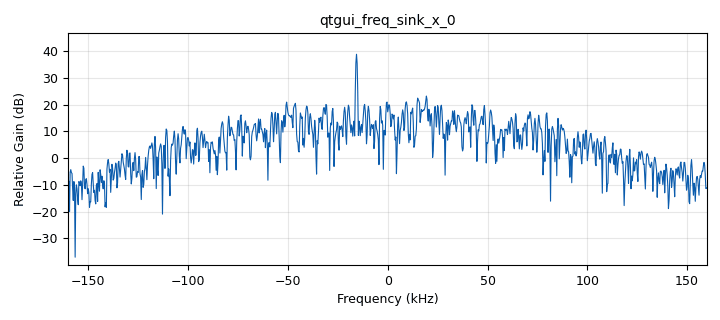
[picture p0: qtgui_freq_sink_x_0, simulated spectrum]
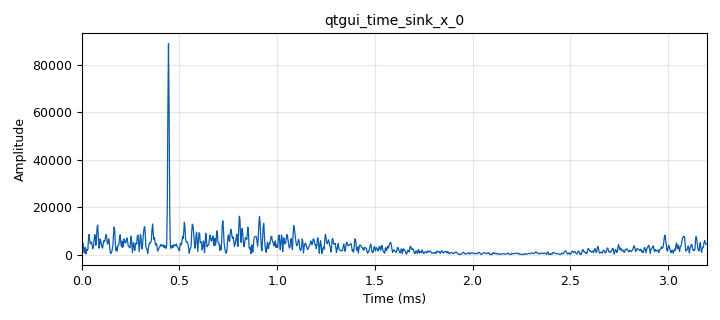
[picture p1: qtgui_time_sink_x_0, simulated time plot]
options:
  parameters:
    author: emmanuelkwakyenyantakyi
    generate_options: qt_gui
    id: cross_corr_signal_delayed_copy_4_2
    output_language: python
    title: Cross-correlation between signal and its delayed copy
  states: {}

blocks:
- name: D
  id: variable_qtgui_range
  parameters:
    start: '0'
    step: '1'
    stop: '100'
    value: '50'
  states: {}
- name: N
  id: variable
  parameters:
    value: '1024'
  states: {}
- name: samp_rate
  id: variable
  parameters:
    value: '320000'
  states: {}
- name: analog_noise_source_x_0
  id: analog_noise_source_x
  parameters:
    amp: '1'
    noise_type: analog.GR_GAUSSIAN
    seed: '0'
    type: complex
  states: {}
- name: blocks_complex_to_mag_0
  id: blocks_complex_to_mag
  parameters:
    vlen: N
  states: {}
- name: blocks_delay_0
  id: blocks_delay
  parameters:
    delay: D
    type: complex
  states: {}
- name: blocks_multiply_conjugate_cc_0
  id: blocks_multiply_conjugate_cc
  parameters:
    vlen: N
  states: {}
- name: blocks_stream_to_vector_0
  id: blocks_stream_to_vector
  parameters:
    num_items: N
    type: complex
  states: {}
- name: blocks_stream_to_vector_1
  id: blocks_stream_to_vector
  parameters:
    num_items: N
    type: complex
  states: {}
- name: blocks_throttle2_0
  id: blocks_throttle2
  parameters:
    samples_per_second: samp_rate
    type: complex
  states: {}
- name: blocks_vector_to_stream_0
  id: blocks_vector_to_stream
  parameters:
    num_items: N
    type: complex
  states: {}
- name: blocks_vector_to_stream_2
  id: blocks_vector_to_stream
  parameters:
    num_items: N
    type: float
  states: {}
- name: fft_vxx_0
  id: fft_vxx
  parameters:
    fft_size: '1024'
    forward: 'False'
    shift: 'True'
    type: complex
    window: window.blackmanharris(1024)
  states: {}
- name: fft_vxx_1
  id: fft_vxx
  parameters:
    fft_size: '1024'
    forward: 'False'
    shift: 'True'
    type: complex
    window: window.blackmanharris(1024)
  states: {}
- name: fft_vxx_1_0
  id: fft_vxx
  parameters:
    fft_size: '1024'
    forward: 'True'
    shift: 'True'
    type: complex
    window: window.blackmanharris(1024)
  states: {}
- name: qtgui_freq_sink_x_0
  id: qtgui_freq_sink_x
  parameters:
    autoscale: 'True'
    bw: samp_rate
    fc: '0'
    fftsize: '1024'
    type: complex
  states: {}
- name: qtgui_time_sink_x_0
  id: qtgui_time_sink_x
  parameters:
    autoscale: 'True'
    size: '1024'
    srate: samp_rate
    type: float
  states: {}
- name: qtgui_waterfall_sink_x_0
  id: qtgui_waterfall_sink_x
  parameters:
    bw: samp_rate
    fc: '0'
    fftsize: '1024'
    type: complex
  states: {state: disabled}

connections:
- [analog_noise_source_x_0, '0', blocks_throttle2_0, '0']
- [blocks_complex_to_mag_0, '0', blocks_vector_to_stream_2, '0']
- [blocks_delay_0, '0', blocks_stream_to_vector_0, '0']
- [blocks_multiply_conjugate_cc_0, '0', blocks_vector_to_stream_0, '0']
- [blocks_multiply_conjugate_cc_0, '0', fft_vxx_1_0, '0']
- [blocks_stream_to_vector_0, '0', fft_vxx_0, '0']
- [blocks_stream_to_vector_1, '0', fft_vxx_1, '0']
- [blocks_throttle2_0, '0', blocks_delay_0, '0']
- [blocks_throttle2_0, '0', blocks_stream_to_vector_1, '0']
- [blocks_vector_to_stream_0, '0', qtgui_freq_sink_x_0, '0']
- [blocks_vector_to_stream_0, '0', qtgui_waterfall_sink_x_0, '0']
- [blocks_vector_to_stream_2, '0', qtgui_time_sink_x_0, '0']
- [fft_vxx_0, '0', blocks_multiply_conjugate_cc_0, '1']
- [fft_vxx_1, '0', blocks_multiply_conjugate_cc_0, '0']
- [fft_vxx_1_0, '0', blocks_complex_to_mag_0, '0']

metadata:
  file_format: 1
  grc_version: 3.10.12.0
